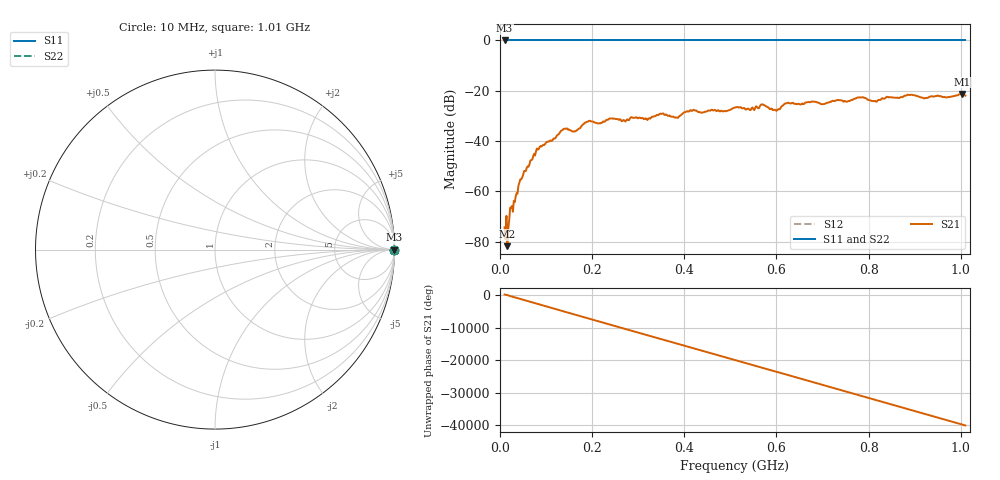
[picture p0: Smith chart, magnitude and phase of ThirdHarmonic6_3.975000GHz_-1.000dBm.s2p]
! 8/17/2025 2:08:48 PM
! C:\ANRITSUVNA\TEMP\TEMP.S2P
! CHANNEL.1
! TR.MEASUREMENT
! RAW.DATA
! RF.CORRECTION.OFF
! AVERAGING.OFF
! IF.BANDWIDTH: 5KHZ
! SWEEPTYPE:  FREQ.SWEEP(Linear)
! Reference Plane Port Info
! PORT:  PORT1  PORT2
! DISTANCE:  0  m  0  m
! TIME:  0  s  0  s
! PHASE.OFFSET:  0  deg.  0  deg.
! LOSS:  0  dB  0  dB
! REF.LOSS:  0  dB  0  dB
! REF.FREQ:  0  Hz  0  Hz
! Power Info
! POWER:  -20  dBm  -20  dBm
! EFF.POWER:  -20  dBm  -20  dBm
! SOURCE.ATTEN:  0  dB  0  dB
! TEST.ATTEN:  0  dB  0  dB
# GHZ S RI R 50.0
! FREQ.GHZ  S11RE  S11IM  S21RE  S21IM  S12RE  S12IM  S22RE  S22IM
!; PortSelection: Port_12
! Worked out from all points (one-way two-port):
!   501 points, 10 MHz to 1.01 GHz, reference 50 ohm
!   highest |S21| = -21.25 dB at 1.002 GHz (marker M1); lowest = -81.8 dB at 16 MHz (marker M2)
!   lowest |S11| = 0.0 dB at 10 MHz (marker M3)
!   |S11| at or under -10 dB: nowhere
!   |S22| runs from 0.0 to 0.0 dB; largest |S21 - S12| = 1.1
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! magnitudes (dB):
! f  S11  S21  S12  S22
! 10 MHz  0.0  -74.3  0.0  0.0
! 16 MHz  0.0  -81.8  0.0  0.0
! 26 MHz  0.0  -65.8  0.0  0.0
! 44 MHz  0.0  -55.3  0.0  0.0
! 82 MHz  0.0  -43.3  0.0  0.0
! 136 MHz  0.0  -35.6  0.0  0.0
! 162 MHz  0.0  -36.1  0.0  0.0
! 178 MHz  0.0  -33.8  0.0  0.0
! 192 MHz  0.0  -32.1  0.0  0.0
! 322 MHz  0.0  -31.1  0.0  0.0
! 344 MHz  0.0  -29.6  0.0  0.0
! 384 MHz  0.0  -30.7  0.0  0.0
! 416 MHz  0.0  -28.0  0.0  0.0
! 510 MHz  0.0  -26.7  0.0  0.0
! 570 MHz  0.0  -25.4  0.0  0.0
! 598 MHz  0.0  -27.7  0.0  0.0
! 622 MHz  0.0  -24.9  0.0  0.0
! 678 MHz  0.0  -24.3  0.0  0.0
! 814 MHz  0.0  -24.1  0.0  0.0
! 844 MHz  0.0  -22.6  0.0  0.0
! 1.002 GHz  0.0  -21.3  0.0  0.0
! 1.01 GHz  0.0  -22.0  0.0  0.0
